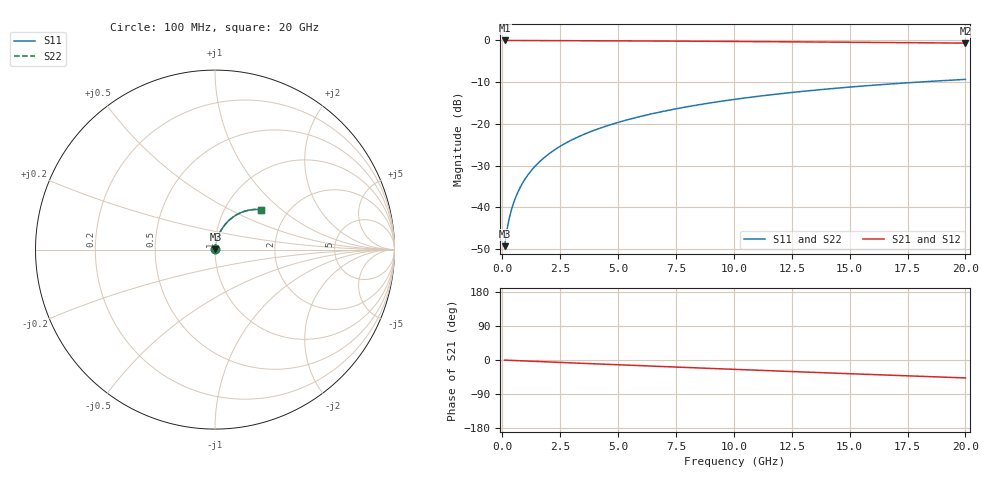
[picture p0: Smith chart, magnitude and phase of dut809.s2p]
! Touchstone file exported from HFSS 2026.1.0
!  File:  C:/ffzhzh/LocalFiles/Ansys_Project_Files/temp_train_BSMRDL_809_1783169869_43440.aedt
!  Generated:  08:59:15 PM Jul  4, 2026
!  Design:  BSMRDL
!  Project:  temp_train_BSMRDL_809_1783169869_43440
! Variables:
!  h_bsmrdl = 5.76um
!  h_ox = 20um
!  h_rdl = 5um
!  h_sub = 80um
!  h_tmrdl = 5um
!  h_tsv = 80um
!  h_via = 3um
!  l_bsmrdl = 764.82um
!  l_sub = 1164.82um
!  l_tmrdl = 200um
!  m_sub = 200um
!  pitch = 40.99um
!  r_tsv = 6um
!  s_tmrdl = 10um
!  w_bsmrdl = 20.9um
!  w_sub = 500um
!  w_tmrdl = 12um
!  x_tsv_center1 = 206um
!  x_tsv_center2 = 991.72um
!  x_tsv_center3 = 1203.72um
!  x_tsv_center4 = 1989.44um
!  x_tsv_center5 = 2201.44um
!  x_tsv_center6 = 2987.16um
# GHz S MA R 50.000000
! Terminal data exported
! Port[1] = BSM_RDL1_1_T1
! Port[2] = BSM_RDL1_1_T2
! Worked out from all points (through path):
!   200 points, 100 MHz to 20 GHz, reference 50 ohm
!   highest |S21| = -0.02 dB at 100 MHz (marker M1); lowest = -0.7 dB at 20 GHz (marker M2)
!   group delay of S21, straight-line fit = 6.56 ps
!   lowest |S11| = -49.3 dB at 100 MHz (marker M3), VSWR 1.01, Z = 50.2 + j0.244 ohm
!   |S11| at or under -10 dB: start of sweep to 17.94 GHz
!   |S22| runs from -49.3 to -9.3 dB; largest |S21 - S12| = 1.5e-14
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0.1  0.003439 44.8  0.9976 -0.3  0.9976 -0.3  0.003439 44.8
! Gamma 0 0 0 0
! Port Impedance 50 0 50 0
0.2  0.005398 60.5  0.9974 -0.5  0.9974 -0.5  0.005398 60.5
0.3  0.007445 67.4  0.9972 -0.8  0.9972 -0.8  0.007445 67.4
0.4  0.009514 71.3  0.9971 -1.0  0.9971 -1.0  0.009513 71.3
0.5  0.0116 73.9  0.997 -1.3  0.997 -1.3  0.0116 73.9
0.6  0.01371 75.7  0.9969 -1.6  0.9969 -1.6  0.01371 75.7
0.8  0.01796 77.8  0.9967 -2.1  0.9967 -2.1  0.01796 77.8
1.1  0.02437 79.2  0.9964 -2.8  0.9964 -2.8  0.02437 79.2
1.5  0.03292 79.7  0.9958 -3.9  0.9958 -3.9  0.03292 79.7
1.8  0.03929 79.6  0.9953 -4.6  0.9953 -4.6  0.03929 79.6
2.1  0.04562 79.3  0.9948 -5.4  0.9948 -5.4  0.04562 79.3
2.7  0.05812 78.3  0.9935 -6.9  0.9935 -6.9  0.05812 78.3
3.5  0.07446 76.7  0.9916 -8.9  0.9916 -8.9  0.07446 76.8
4.2  0.08847 75.3  0.9897 -10.6  0.9897 -10.6  0.08847 75.3
5  0.1042 73.5  0.9875 -12.6  0.9875 -12.6  0.1042 73.5
5.9  0.1216 71.5  0.9849 -14.8  0.9849 -14.8  0.1216 71.6
6.8  0.1386 69.6  0.982 -17.0  0.982 -17.0  0.1386 69.6
8.3  0.1662 66.2  0.9769 -20.6  0.9769 -20.6  0.1662 66.3
10.1  0.1979 62.2  0.9702 -24.9  0.9702 -24.9  0.1979 62.2
13.4  0.2519 54.9  0.9566 -32.6  0.9566 -32.6  0.2519 54.9
16.7  0.2998 47.7  0.942 -40.0  0.942 -40.0  0.2999 47.7
20  0.3413 40.7  0.9274 -47.3  0.9274 -47.3  0.3413 40.7
